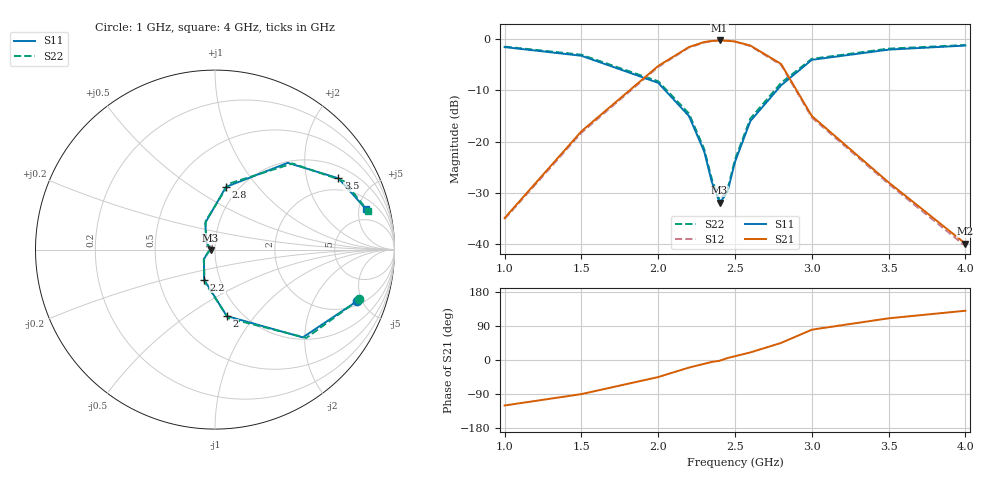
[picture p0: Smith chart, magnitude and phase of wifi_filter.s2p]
! 2-port S-parameter data
! Device: Chebyshev bandpass filter
! Center frequency: 2.4 GHz (Wi-Fi band)
! Bandwidth: 100 MHz
! Insertion loss: < 1 dB in passband
! Return loss: > 15 dB in passband
! Reference impedance: 50 ohms
# GHZ S DB R 50
! Freq(GHz) S11(dB) S11(deg) S21(dB) S21(deg) S12(dB) S12(deg) S22(dB) S22(deg)
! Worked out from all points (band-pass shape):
!   14 points, 1 GHz to 4 GHz, reference 50 ohm
!   highest |S21| = -0.20 dB at 2.4 GHz (marker M1); lowest = -40.0 dB at 4 GHz (marker M2)
!   |S21| within 3 dB of the highest: 2.108 GHz to 2.711 GHz (603 MHz wide, 25 % of centre)
!   lowest |S11| = -32.0 dB at 2.4 GHz (marker M3), VSWR 1.05, Z = 47.6 - j0.208 ohm
!   |S11| at or under -10 dB: 2.046 GHz to 2.771 GHz (725.3 MHz wide, 30.1 % of centre)
!   |S22| runs from -31.5 to -1.1 dB; largest |S21 - S12| = 0.02
!   S11 on the Smith chart (normalised r, x): 1 GHz: 2.31, -4.54; 2 GHz: 0.85, -0.73; 2.2 GHz: 0.84, -0.29; 2.8 GHz: 0.87, +0.70; 3.5 GHz: 1.45, +3.11; 4 GHz: 3.18, +5.93
1  -1.50 -20.0  -35.00 -120.0  -35.20 -121.0  -1.40 -19.0
1.5  -3.20 -45.0  -18.00 -90.0  -18.30 -91.0  -3.00 -44.0
2  -8.50 -80.0  -5.20 -45.0  -5.40 -46.0  -8.20 -79.0
2.2  -15.00 -110.0  -1.50 -20.0  -1.60 -21.0  -14.50 -108.0
2.3  -22.00 -140.0  -0.50 -10.0  -0.60 -11.0  -21.50 -138.0
2.35  -28.00 -160.0  -0.30 -5.0  -0.35 -6.0  -27.50 -158.0
2.4  -32.00 -175.0  -0.20 -2.0  -0.22 -3.0  -31.50 -173.0
2.45  -30.00 160.0  -0.25 5.0  -0.28 4.0  -29.50 158.0
2.5  -24.00 140.0  -0.40 10.0  -0.45 9.0  -23.50 138.0
2.6  -16.00 110.0  -1.20 20.0  -1.30 19.0  -15.50 108.0
2.8  -9.00 80.0  -4.80 45.0  -5.00 44.0  -8.50 78.0
3  -4.00 50.0  -15.00 80.0  -15.30 79.0  -3.80 48.0
3.5  -2.00 30.0  -28.00 110.0  -28.30 109.0  -1.80 28.0
4  -1.20 15.0  -40.00 130.0  -40.50 129.0  -1.10 14.0
